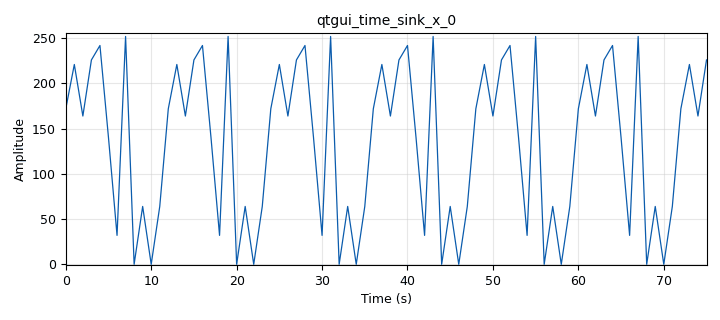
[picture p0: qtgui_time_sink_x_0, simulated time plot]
options:
  parameters:
    generate_options: qt_gui
    id: ws_3_4
    output_language: python
    title: '3.2'
  states: {}

blocks:
- name: bps
  id: variable
  parameters:
    value: '1'
  states: {}
- name: excess_bw
  id: variable
  parameters:
    value: '0.35'
  states: {}
- name: freq
  id: variable
  parameters:
    value: '915000000'
  states: {}
- name: preamble
  id: variable
  parameters:
    value: digital.packet_utils.default_access_code
  states: {}
- name: samp_rate
  id: variable
  parameters:
    value: 32 * 1000
  states: {}
- name: threshold
  id: variable
  parameters:
    value: '3'
  states: {}
- name: analog_random_source_x_0
  id: analog_random_source_x
  parameters:
    max: '256'
    min: '0'
    num_samps: '1000'
    repeat: 'True'
    type: byte
  states: {}
- name: blocks_stream_to_tagged_stream_0
  id: blocks_stream_to_tagged_stream
  parameters:
    len_tag_key: '"packet_len"'
    packet_len: '64'
    type: byte
  states: {}
- name: blocks_tagged_stream_mux_0
  id: blocks_tagged_stream_mux
  parameters:
    lengthtagname: packet_len
    ninputs: '1'
    type: byte
  states: {}
- name: blocks_throttle_0
  id: blocks_throttle
  parameters:
    samples_per_second: samp_rate
    type: byte
  states: {}
- name: blocks_uchar_to_float_0
  id: blocks_uchar_to_float
  parameters: {}
  states: {}
- name: digital_protocol_formatter_bb_0
  id: digital_protocol_formatter_bb
  parameters:
    format: digital.header_format_default(preamble, threshold, bps)
    len_tag_key: '"packet_len"'
  states: {}
- name: import_0
  id: import
  parameters:
    imports: import numpy as np
  states: {}
- name: qtgui_time_sink_x_0
  id: qtgui_time_sink_x
  parameters:
    size: '76'
    srate: '1'
    tr_mode: qtgui.TRIG_MODE_TAG
    tr_tag: '"packet_len"'
    type: float
    ymax: '256'
  states: {}

connections:
- [analog_random_source_x_0, '0', blocks_stream_to_tagged_stream_0, '0']
- [blocks_stream_to_tagged_stream_0, '0', digital_protocol_formatter_bb_0, '0']
- [blocks_tagged_stream_mux_0, '0', blocks_throttle_0, '0']
- [blocks_throttle_0, '0', blocks_uchar_to_float_0, '0']
- [blocks_uchar_to_float_0, '0', qtgui_time_sink_x_0, '0']
- [digital_protocol_formatter_bb_0, '0', blocks_tagged_stream_mux_0, '0']

metadata:
  file_format: 1
